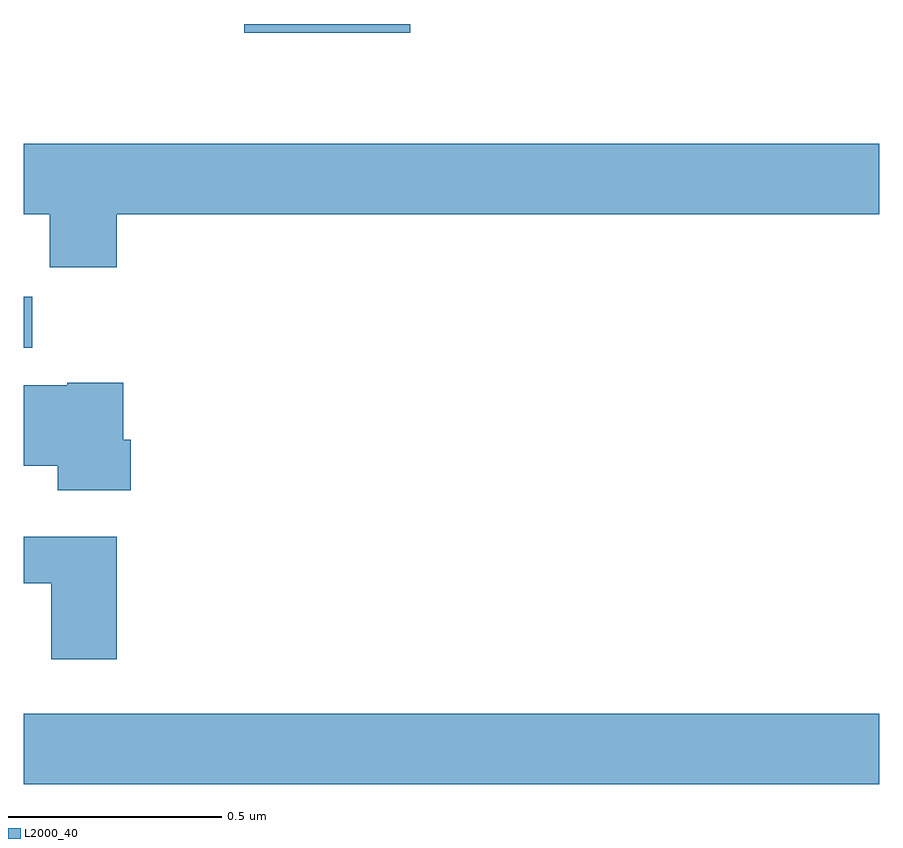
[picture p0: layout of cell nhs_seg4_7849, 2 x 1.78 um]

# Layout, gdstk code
import gdstk
lib = gdstk.Library(unit=1e-6, precision=1e-09)
def R(c, l, rs):  # rectangles x0, y0, x1, y1
    for r in rs: c.add(gdstk.rectangle(r[:2], r[2:], *l))
def P(c, l, *ps):  # polygons
    for p in ps: c.add(gdstk.Polygon(p, *l))
L2000_40 = (2000, 40)

nhs_seg4_7849 = lib.new_cell('nhs_seg4_7849')
R(nhs_seg4_7849, L2000_40, [(207,826.124,209,826.288), (207,827.144,207.02,827.263), (207.516,827.879,207.904,827.9)])
P(nhs_seg4_7849, L2000_40, [(207.218,827.456),(209,827.456),(209,827.62),(207,827.62),(207,827.456),(207.061,827.456),(207.061,827.332),(207.218,827.332)],
  [(207.251,826.929),(207.233,826.929),(207.233,827.062),(207.102,827.062),(207.102,827.056),(207,827.056),(207,826.868),(207.08,826.868),(207.08,826.811),(207.251,826.811)],
  [(207.218,826.702),(207,826.702),(207,826.593),(207.065,826.593),(207.065,826.416),(207.218,826.416)])

lib.write_gds('nhs_seg4_7849.gds')
